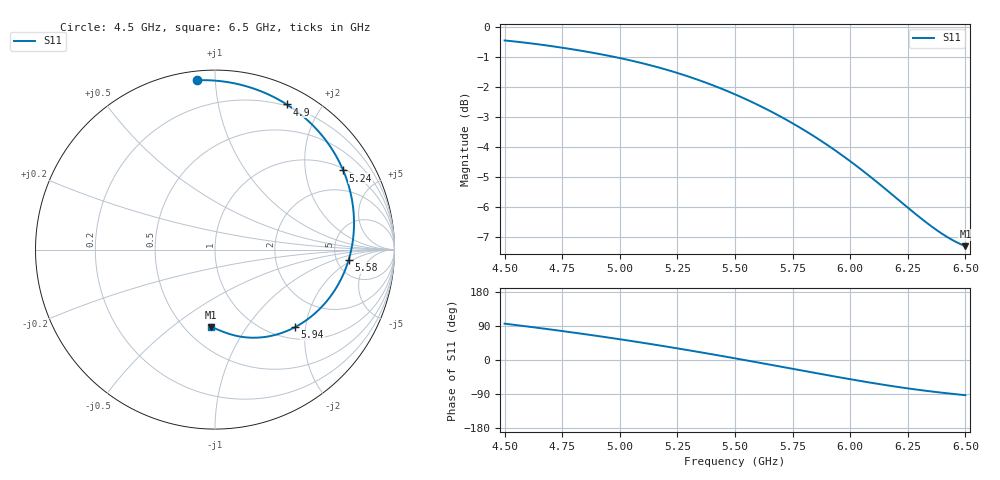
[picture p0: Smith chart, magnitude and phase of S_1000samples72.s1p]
! TOUCHSTONE file generated by CST MICROWAVE STUDIO
! Date and time: Wed Oct 26 21:34:33 2022
! Project name: L.cst
! Parameters = {Di=1.27; Epsilon_r=1.56; InnerDiameter=1.27; Length=2; Lf=10; Lg=60; OuterConductorThickness=0.2921; OuterDiameter=3.6; Wf=3; Wp=41.2; de=1.5; df=6.8; g=0.8; gx=3.47264; gy=4.94019; h=2.34; hf=1.524; px=13.2481; py=11.0892; w=9.7; wx=9.7755; wy=6.149}
! Header version: 2018
! Port assignment regex: !\s*Touchstone port\s*([0-9]+)\s*=\s*(CST MWS port|CST DS port)\s*([0-9]+|Zmin|Zmax)\s*\(\"(.*)\"\)(\s*mode\s*([0-9]+))?.*
! Touchstone port assignment:
! Touchstone port 1 = CST MWS port 1 ("")
# GHz S DB R 50
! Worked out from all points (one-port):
!   101 points, 4.5 GHz to 6.5 GHz, reference 50 ohm
!   lowest |S11| = -7.3 dB at 6.5 GHz (marker M1), VSWR 2.52, Z = 33.1 - j35 ohm
!   |S11| at or under -10 dB: nowhere
!   S11 on the Smith chart (normalised r, x): 4.5 GHz: 0.05, +0.90; 4.9 GHz: 0.18, +1.60; 5.24 GHz: 1.07, +3.20; 5.58 GHz: 6.47, -1.66; 5.94 GHz: 1.24, -1.75; 6.5 GHz: 0.66, -0.70
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4.5  -0.46 95.9
4.58  -0.53 89.9
4.64  -0.58 85.2
4.7  -0.64 80.4
4.76  -0.71 75.6
4.84  -0.81 68.9
4.9  -0.89 63.7
5  -1.05 54.7
5.12  -1.26 43.5
5.18  -1.38 37.7
5.24  -1.52 31.7
5.26  -1.57 29.7
5.32  -1.72 23.5
5.38  -1.88 17.2
5.44  -2.06 10.9
5.5  -2.25 4.4
5.58  -2.53 -4.4
5.66  -2.84 -13.2
5.76  -3.26 -24.3
5.86  -3.73 -35.5
5.94  -4.14 -44.2
6  -4.48 -50.6
6.06  -4.83 -56.9
6.12  -5.19 -62.9
6.18  -5.57 -68.7
6.26  -6.08 -75.7
6.36  -6.68 -83.6
6.5  -7.30 -92.9
